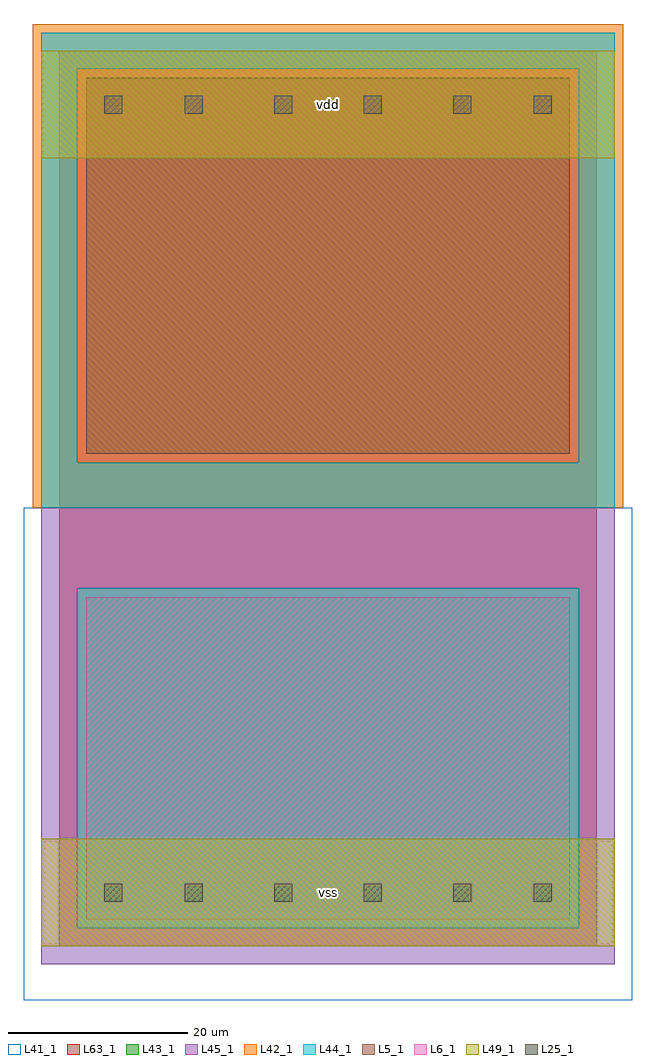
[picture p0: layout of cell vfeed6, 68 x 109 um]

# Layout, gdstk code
import gdstk
lib = gdstk.Library(unit=1e-6, precision=1e-09)
def R(c, l, rs):  # rectangles x0, y0, x1, y1
    for r in rs: c.add(gdstk.rectangle(r[:2], r[2:], *l))
def A(c, l, x, y, w, h, nx, ny, dx, dy):  # array of equal rectangles
    R(c, l, [(x+i*dx, y+j*dy, x+i*dx+w, y+j*dy+h) for i in range(nx) for j in range(ny)])
L5_1 = (5, 1)
L6_1 = (6, 1)
L25_1 = (25, 1)
L41_1 = (41, 1)
L42_1 = (42, 1)
L43_1 = (43, 1)
L44_1 = (44, 1)
L45_1 = (45, 1)
L49_1 = (49, 1)
L63_1 = (63, 1)

vfeed6 = lib.new_cell('vfeed6')
R(vfeed6, L5_1, [(3,55,57,97)])
R(vfeed6, L6_1, [(3,3,57,39)])
A(vfeed6, L25_1, 14, 5, 2, 2, 4, 2, 10, 88)
R(vfeed6, L25_1, [(5,5,7,7), (53,5,55,7), (5,93,7,95), (53,93,55,95)])
R(vfeed6, L41_1, [(-4,-6,64,49), (-3,-3,63,49)])
R(vfeed6, L42_1, [(-3,49,63,103)])
R(vfeed6, L43_1, [(3,3,57,39), (3,55,57,97)])
R(vfeed6, L44_1, [(2,2,58,40), (-2,49,62,54), (-2,54,2,98), (58,54,62,98), (-2,98,62,102)])
R(vfeed6, L45_1, [(-2,-2,62,2), (-2,2,2,40), (58,2,62,40), (-2,40,62,49), (2,54,58,98)])
R(vfeed6, L49_1, [(-2,0,62,12), (-2,88,62,100)])
R(vfeed6, L63_1, [(0,0,60,100)])
vfeed6.add(gdstk.Label('vss', (30,6), layer=49, texttype=1))
vfeed6.add(gdstk.Label('vss', (30,6), layer=49, texttype=1))
vfeed6.add(gdstk.Label('vdd', (30,94), layer=49, texttype=1))
vfeed6.add(gdstk.Label('vdd', (30,94), layer=49, texttype=1))

lib.write_gds('vfeed6.gds')
